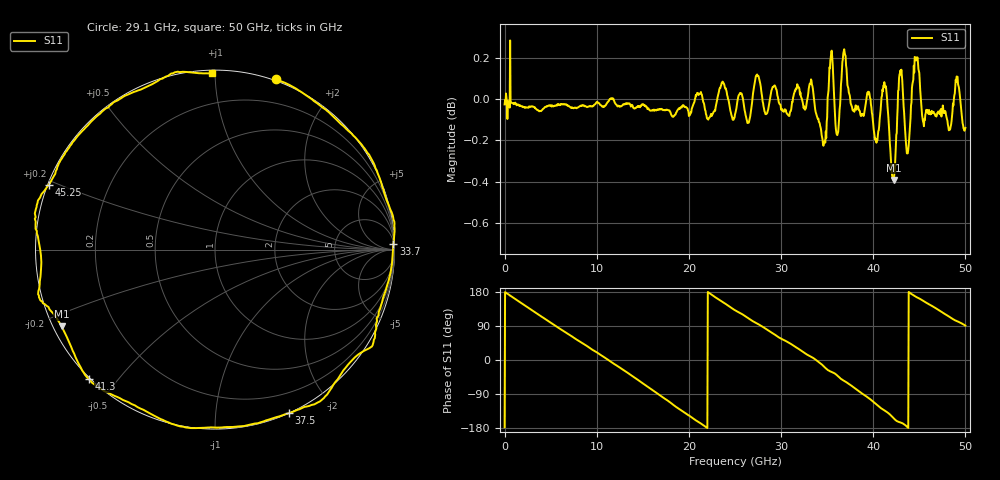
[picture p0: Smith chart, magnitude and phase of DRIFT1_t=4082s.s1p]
!Created with skrf (http://scikit-rf.org).
# Hz S RI R 50.0
!freq ReS11 ImS11
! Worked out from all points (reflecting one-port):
!   1001 points, 300 kHz to 50 GHz, reference 50 ohm
!   lowest |S11| = -0.4 dB at 42.2 GHz (marker M1), VSWR 44.19, Z = 1.19 - j11.8 ohm
!   phase of S11 starts at -178 deg and turns -812 deg over the sweep
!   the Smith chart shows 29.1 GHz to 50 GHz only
!   S11 on the Smith chart (normalised r, x): 29.1 GHz: -0.01, +1.42; 33.7 GHz: 13, +66; 37.5 GHz: -0.00, -1.55; 41.3 GHz: -0.00, -0.42; 45.25 GHz: 0.00, +0.19; 50 GHz: 0.02, +0.99
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300000  -0.9962 -0.0422
1.60029e9  -0.893 0.4426
3.40028e9  -0.5593 0.8224
6.250262e9  0.1965 0.9777
7.850253e9  0.5929 0.7991
9.550243e9  0.8905 0.4461
1.115023e10  0.9978 0.0273
1.250022e10  0.9358 -0.3414
1.420021e10  0.6653 -0.7401
1.580021e10  0.2537 -0.9607
1.73002e10  -0.1863 -0.9763
1.875019e10  -0.5855 -0.803
2.165017e10  -0.9909 -0.1125
2.345016e10  -0.9255 0.3976
2.500015e10  -0.6541 0.7452
2.725014e10  -0.1437 1.002
2.910013e10  0.3377 0.9486
3.125011e10  0.7706 0.6347
3.37001e10  0.9939 0.0291
3.560009e10  0.8587 -0.5501
3.750008e10  0.4134 -0.9109
3.945006e10  -0.1636 -0.9908
4.130005e10  -0.7039 -0.7196
4.220005e10  -0.8545 -0.4281
4.375004e10  -0.9697 -0.032
4.525003e10  -0.9264 0.3623
4.770001e10  -0.5315 0.8385
5e10  -0.0142 0.9839
